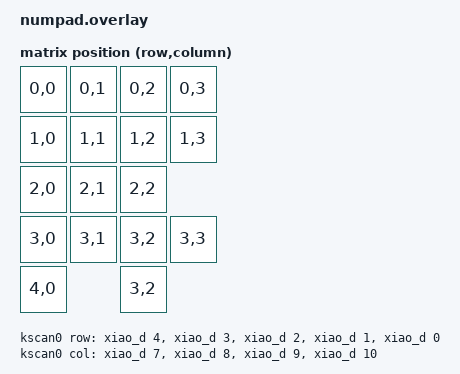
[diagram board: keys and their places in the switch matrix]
#include <dt-bindings/zmk/matrix_transform.h> // Put this with the other includes at the top of your overlay

/ {
    default_transform: keymap_transform0 {
        compatible = "zmk,matrix-transform";
        columns = <4>; 
        rows = <5>; 
        // ┌───┬───┬───┬───┐
        // │NUM│ / │ * │ - │
        // ├───┼───┼───┼───┤
        // │ 7 │ 8 │ 9 │ + │
        // ├───┼───┼───┤   │
        // │ 4 │ 5 │ 6 │   │
        // ├───┼───┼───┼───┤
        // │ 1 │ 2 │ 3 │ENT│
        // ├───┴───┼───┤   │
        // │ 0     │ . │   │
        // └───────┴───┴───┘
        map = <
            RC(0,0) RC(0,1) RC(0,2) RC(0,3)
            RC(1,0) RC(1,1) RC(1,2) RC(1,3)
            RC(2,0) RC(2,1) RC(2,2)
            RC(3,0) RC(3,1) RC(3,2) RC(3,3)
            RC(4,0)         RC(3,2)
        >;
    };

    kscan0: kscan0 {
        compatible = "zmk,kscan-gpio-matrix";
        diode-direction = "row2col";
        wakeup-source;

        col-gpios
            = <&xiao_d 7 GPIO_ACTIVE_HIGH>
            , <&xiao_d 8 GPIO_ACTIVE_HIGH>
            , <&xiao_d 9 GPIO_ACTIVE_HIGH>
            , <&xiao_d 10 GPIO_ACTIVE_HIGH>
            ;

        row-gpios
            = <&xiao_d 4 (GPIO_ACTIVE_HIGH | GPIO_PULL_DOWN)>
            , <&xiao_d 3 (GPIO_ACTIVE_HIGH | GPIO_PULL_DOWN)>
            , <&xiao_d 2 (GPIO_ACTIVE_HIGH | GPIO_PULL_DOWN)>
            , <&xiao_d 1 (GPIO_ACTIVE_HIGH | GPIO_PULL_DOWN)>
            , <&xiao_d 0 (GPIO_ACTIVE_HIGH | GPIO_PULL_DOWN)>
            ;
    };
};
